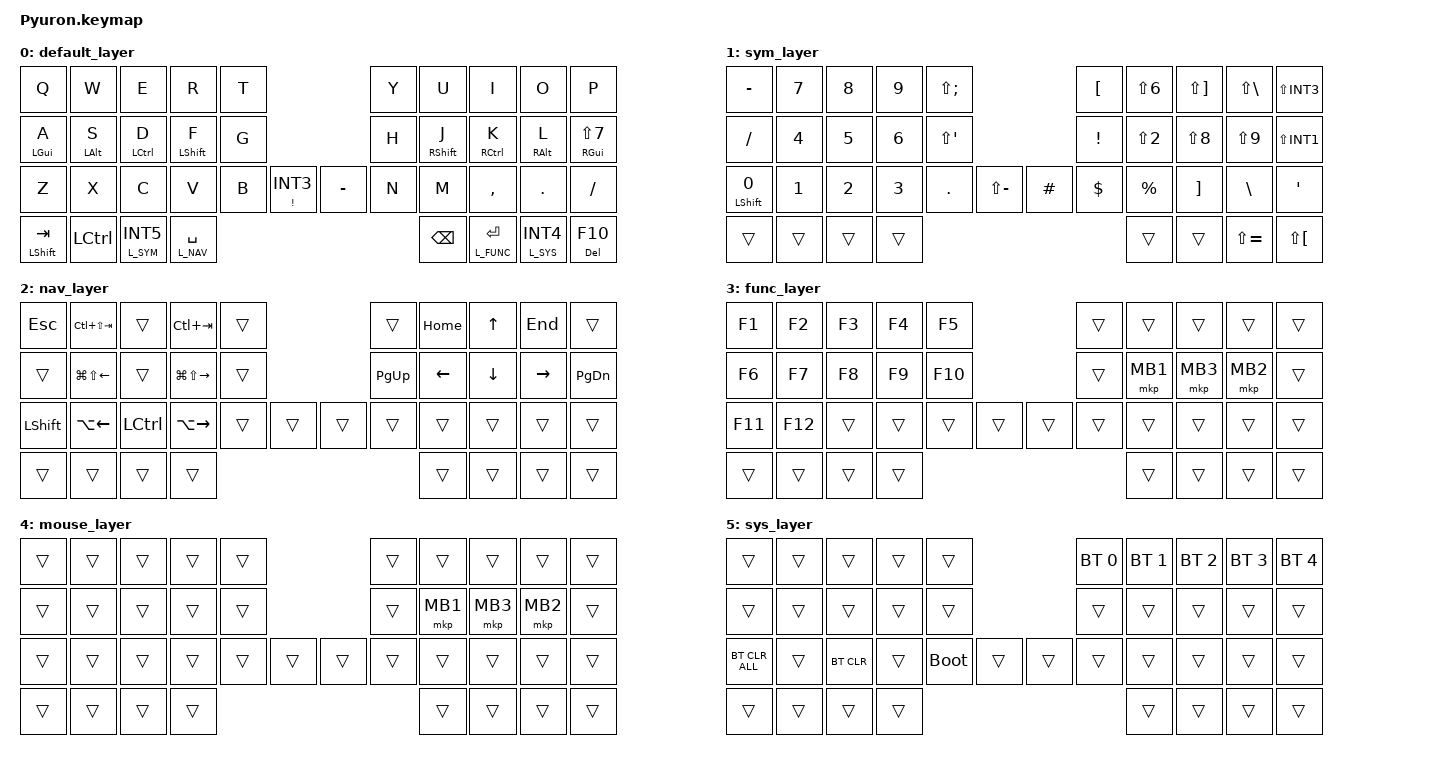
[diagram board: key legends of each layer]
#include <behaviors.dtsi>
#include <dt-bindings/zmk/bt.h>
#include <dt-bindings/zmk/keys.h>
#include <dt-bindings/zmk/pointing.h>

/* ===== Layer indices =====
 * L_MOUSE must match <&zip_mouse_temp_layer N ...> in Pyuron_R.overlay.
 * Names are prefixed so they cannot collide with anything the
 * included headers already define.
 */
#define L_BASE   0
#define L_SYM    1   // symbols / numbers    - Eisu hold  (pos 34)
#define L_NAV    2   // cursor / window      - Space hold (pos 35)
#define L_FUNC   3   // F-keys / mouse click - Enter hold (pos 37)
#define L_MOUSE  4   // click only           - trackball auto ON
#define L_SYS    5   // bluetooth / boot     - Kana hold  (pos 38)

/* ===== JIS (Japanese 106/109) symbol aliases =====
 * Precondition: OS keyboard layout = JIS on ALL hosts.
 * ZMK sends US-position HID codes; these map them to JIS output.
 * Unchanged in JIS (kept as US names): ! # $ % , . / and digits/keypad.
 */
#define JP_CIRC  EQUAL        // ^
#define JP_AT    LBKT         // @
#define JP_LBKT  RBKT         // [
#define JP_RBKT  BSLH         // ]
#define JP_COLON SQT          // :
#define JP_BSLH  INT1         // \  (ろ key)
#define JP_YEN   INT3         // ¥  (= backslash 0x5C on Windows JIS)
#define JP_PLUS  LS(SEMI)     // +
#define JP_ASTR  LS(SQT)      // *
#define JP_EQL   LS(MINUS)    // =
#define JP_TILDE LS(EQUAL)    // ~
#define JP_GRAVE LS(LBKT)     // `
#define JP_LBRC  LS(RBKT)     // {
#define JP_RBRC  LS(BSLH)     // }
#define JP_PIPE  LS(INT3)     // |
#define JP_UNDER LS(INT1)     // _
#define JP_DQT   LS(N2)       // "
#define JP_AMPS  LS(N6)       // &
#define JP_QUOT  LS(N7)       // '
#define JP_LPAR  LS(N8)       // (
#define JP_RPAR  LS(N9)       // )


/* ----- positional hold-tap (HRM) key-position sets -----
 * Left alphas : 0-4 / 10-14 / 20-25
 * Right alphas: 5-9 / 15-19 / 26-31
 * Thumb/bottom: 32-39 (allowed for both sides)
 */
#define KEYS_R 5 6 7 8 9 15 16 17 18 19 26 27 28 29 30 31
#define KEYS_L 0 1 2 3 4 10 11 12 13 14 20 21 22 23 24 25
#define THUMBS 32 33 34 35 36 37 38 39

&mt {
    flavor = "balanced";
    quick-tap-ms = <0>;
};

/* ZMK Keymap Overlay: begin (generated) */
/*
 * Signal keys for the ZMK Keymap Overlay PC app.
 * Entering a layer also holds an F13-F24 key, so the PC can show that layer.
 * Regenerate this block from the app instead of editing it by hand.
 * The &zo_lt_* keys keep the timing of ZMK's built-in &lt
 * (and of any &lt { ... } override in this keymap).
 */
/ {
    macros {
        zo_mo_l1: zo_mo_l1 {
            compatible = "zmk,behavior-macro-one-param";
            display-name = "Momentary Layer + F13";
            #binding-cells = <1>;
            wait-ms = <0>;
            tap-ms = <0>;
            bindings
                = <&macro_press &macro_param_1to1 &mo MACRO_PLACEHOLDER>
                , <&macro_press &kp F13>
                , <&macro_pause_for_release>
                , <&macro_release &kp F13>
                , <&macro_release &macro_param_1to1 &mo MACRO_PLACEHOLDER>;
        };
        zo_mo_l2: zo_mo_l2 {
            compatible = "zmk,behavior-macro-one-param";
            display-name = "Momentary Layer + F14";
            #binding-cells = <1>;
            wait-ms = <0>;
            tap-ms = <0>;
            bindings
                = <&macro_press &macro_param_1to1 &mo MACRO_PLACEHOLDER>
                , <&macro_press &kp F14>
                , <&macro_pause_for_release>
                , <&macro_release &kp F14>
                , <&macro_release &macro_param_1to1 &mo MACRO_PLACEHOLDER>;
        };
        zo_mo_l3: zo_mo_l3 {
            compatible = "zmk,behavior-macro-one-param";
            display-name = "Momentary Layer + F15";
            #binding-cells = <1>;
            wait-ms = <0>;
            tap-ms = <0>;
            bindings
                = <&macro_press &macro_param_1to1 &mo MACRO_PLACEHOLDER>
                , <&macro_press &kp F15>
                , <&macro_pause_for_release>
                , <&macro_release &kp F15>
                , <&macro_release &macro_param_1to1 &mo MACRO_PLACEHOLDER>;
        };
        zo_mo_l5: zo_mo_l5 {
            compatible = "zmk,behavior-macro-one-param";
            display-name = "Momentary Layer + F16";
            #binding-cells = <1>;
            wait-ms = <0>;
            tap-ms = <0>;
            bindings
                = <&macro_press &macro_param_1to1 &mo MACRO_PLACEHOLDER>
                , <&macro_press &kp F16>
                , <&macro_pause_for_release>
                , <&macro_release &kp F16>
                , <&macro_release &macro_param_1to1 &mo MACRO_PLACEHOLDER>;
        };
    };

    behaviors {
        zo_lt_l1: zo_lt_l1 {
            compatible = "zmk,behavior-hold-tap";
            display-name = "Layer-Tap + F13";
            #binding-cells = <2>;
            flavor = "tap-preferred";
            tapping-term-ms = <200>;
            bindings = <&zo_mo_l1>, <&kp>;
        };
        zo_lt_l2: zo_lt_l2 {
            compatible = "zmk,behavior-hold-tap";
            display-name = "Layer-Tap + F14";
            #binding-cells = <2>;
            flavor = "tap-preferred";
            tapping-term-ms = <200>;
            bindings = <&zo_mo_l2>, <&kp>;
        };
        zo_lt_l3: zo_lt_l3 {
            compatible = "zmk,behavior-hold-tap";
            display-name = "Layer-Tap + F15";
            #binding-cells = <2>;
            flavor = "tap-preferred";
            tapping-term-ms = <200>;
            bindings = <&zo_mo_l3>, <&kp>;
        };
        zo_lt_l5: zo_lt_l5 {
            compatible = "zmk,behavior-hold-tap";
            display-name = "Layer-Tap + F16";
            #binding-cells = <2>;
            flavor = "tap-preferred";
            tapping-term-ms = <200>;
            bindings = <&zo_mo_l5>, <&kp>;
        };
    };
};
/* ZMK Keymap Overlay: end */

/ {
    combos {
        compatible = "zmk,combos";

        combo_caps_word {
            bindings = <&caps_word>;
            key-positions = <13 16>;     // F + J
            timeout-ms = <50>;
            require-prior-idle-ms = <150>;
        };

        combo_esc {
            bindings = <&kp ESC>;
            key-positions = <21 22>;     // X + C
            layers = <0>;
            timeout-ms = <30>;
            require-prior-idle-ms = <50>;
        };

        combo_lbracket_ja {
            bindings = <&kp JP_LBKT>;    // kana: 「 / eisu: [
            key-positions = <28 29>;     // M + ,
            layers = <0>;
            timeout-ms = <40>;
            require-prior-idle-ms = <30>;
        };

        combo_rbracket_ja {
            bindings = <&kp JP_RBKT>;    // kana: 」 / eisu: ]
            key-positions = <30 31>;     // . + /
            layers = <0>;
            timeout-ms = <40>;
            require-prior-idle-ms = <30>;
        };
    };
};

/ {
    behaviors {
        // Home-row mods : left hand. Hold resolves only when an
        // opposite-hand (or thumb) key is pressed -> no same-hand misfires.
        // Consequence: left-hand-only Ctrl+S etc. is NOT possible here;
        // that is covered by the thumb mods at positions 32 (Shift) and 33 (Ctrl).
        hml: home_row_mod_left {
            compatible = "zmk,behavior-hold-tap";
            label = "HOME_ROW_MOD_LEFT";
            #binding-cells = <2>;
            bindings = <&kp>, <&kp>;
            flavor = "balanced";
            tapping-term-ms = <280>;
            quick-tap-ms = <175>;
            require-prior-idle-ms = <150>;
            hold-trigger-key-positions = <KEYS_R THUMBS>;
            hold-trigger-on-release;
        };

        // Home-row mods : right hand.
        hmr: home_row_mod_right {
            compatible = "zmk,behavior-hold-tap";
            label = "HOME_ROW_MOD_RIGHT";
            #binding-cells = <2>;
            bindings = <&kp>, <&kp>;
            flavor = "balanced";
            tapping-term-ms = <280>;
            quick-tap-ms = <175>;
            require-prior-idle-ms = <150>;
            hold-trigger-key-positions = <KEYS_L THUMBS>;
            hold-trigger-on-release;
        };

        // Tap-preferred hold-tap for thumb/corner dual keys.
        // Tap fires reliably even when typing right after; hold needs ~200ms.
        // NOTE: parameter order is <hold> <tap>.
        //   &htp DEL F10             -> tap = F10, hold = Delete
        //   &htp LSHFT TAB           -> tap = Tab, hold = Shift
        //   &htp EXCLAMATION JP_YEN  -> tap = ¥,   hold = !
        htp: hold_tap_preferred {
            compatible = "zmk,behavior-hold-tap";
            label = "HOLD_TAP_PREFERRED";
            #binding-cells = <2>;
            bindings = <&kp>, <&kp>;
            flavor = "tap-preferred";
            tapping-term-ms = <200>;
        };
    };

    /* ==========================================================
     * Physical layout is 10 / 10 / 12 / 8  (40 keys).
     * Every layer below is line-broken to match that, so a row in
     * this file is a row on the board.
     *
     *   pos  0- 4 : left  top      pos  5- 9 : right top
     *   pos 10-14 : left  home     pos 15-19 : right home
     *   pos 20-25 : left  bottom   pos 26-31 : right bottom
     *   pos 32-35 : left  thumb    pos 36-39 : right thumb
     * ==========================================================
     */
    keymap {
        compatible = "zmk,keymap";

        /* L0 BASE
         *   Q     W     E     R     T    |    Y     U     I     O     P
         *  ⌘A    ⌥S    ⌃D    ⇧F     G    |    H    ⇧J    ⌃K    ⌥L    ⌘'
         *   Z     X     C     V     B  ¥/! |  -     N     M     ,     .     /
         * Tab/⇧   ⌃        Eisu₁ Spc₂ | Bsp Ent₃      Kana₅ F10/Del
         */
        default_layer {
            bindings = <
&kp Q           &kp W          &kp E          &kp R          &kp T                                        &kp Y            &kp U            &kp I          &kp O          &kp P
&hml LGUI A     &hml LALT S    &hml LCTRL D   &hml LSHFT F   &kp G                                        &kp H            &hmr RSHFT J     &hmr RCTRL K   &hmr RALT L    &hmr RGUI JP_QUOT
&kp Z           &kp X          &kp C          &kp V          &kp B     &htp EXCLAMATION JP_YEN    &kp MINUS   &kp N         &kp M            &kp COMMA      &kp DOT        &kp SLASH
&htp LSHFT TAB  &kp LCTRL      &zo_lt_l1 L_SYM INT5  &zo_lt_l2 L_NAV SPACE                                    &kp BACKSPACE   &zo_lt_l3 L_FUNC ENTER   &zo_lt_l5 L_SYS INT4   &htp DEL F10
            >;
        };

        /* L1 SYM/NUM  (Eisu hold, pos 34)
         *  -  7  8  9  +   |   @  &  {  }  |
         *  /  4  5  6  *   |   !  "  (  )  _
         * ⇧0  1  2  3  .  =|  #  $  %  [  ]  :
         *  x  x     ▽  x   |  ·  ·        ~  `
         * pos 32/33/35 are unreachable (same thumb holds 34) -> kept transparent.
         */
        sym_layer {
            bindings = <
&kp MINUS            &kp N7   &kp N8   &kp N9   &kp JP_PLUS                          &kp JP_AT         &kp JP_AMPS   &kp JP_LBRC   &kp JP_RBRC    &kp JP_PIPE
&kp SLASH            &kp N4   &kp N5   &kp N6   &kp JP_ASTR                          &kp EXCLAMATION   &kp JP_DQT    &kp JP_LPAR   &kp JP_RPAR    &kp JP_UNDER
&mt LEFT_SHIFT N0    &kp N1   &kp N2   &kp N3   &kp PERIOD   &kp JP_EQL   &kp HASH   &kp DOLLAR        &kp PERCENT   &kp JP_LBKT   &kp JP_RBKT    &kp JP_COLON
&trans                  &trans      &trans      &trans                                 &trans     &trans        &kp JP_TILDE  &kp JP_GRAVE
            >;
        };

        /* L2 NAV  (Space hold, pos 35)
         * Esc C⇧⇥  ·  C⇥   ·   |    ·  Hom  ↑  End  ·
         *  ·  ⌘⇧←  ·  ⌘⇧→  ·   |   PgU  ←   ↓   →  PgD
         *  ⇧  ⌥←   ⌃  ⌥→   ·  ·|  ·  ·   ·   ·   ·   ·
         *  x  x        x   ▽   |  ·  ·        ·   ·
         * pos 20/22 carry Shift/Ctrl because the left thumb is busy holding 35.
         */
        nav_layer {
            bindings = <
&kp ESCAPE    &kp LC(LS(TAB))         &trans       &kp LC(TAB)              &trans                    &trans     &kp HOME        &kp UP_ARROW    &kp END          &trans
&trans        &kp LG(LS(LEFT_ARROW))  &trans       &kp LG(LS(RIGHT_ARROW))  &trans                    &kp PG_UP  &kp LEFT_ARROW  &kp DOWN_ARROW  &kp RIGHT_ARROW  &kp PG_DN
&kp LSHFT     &kp LA(LEFT_ARROW)      &kp LCTRL    &kp LA(RIGHT_ARROW)      &trans   &trans     &trans   &trans   &trans          &trans          &trans           &trans
&trans        &trans                  &trans       &trans                                      &trans   &trans   &trans          &trans
            >;
        };

        /* L3 FUNC/CLICK  (Enter hold, pos 37)
         * F1  F2  F3  F4  F5  |   ·   ·    ·    ·   ·
         * F6  F7  F8  F9  F10 |   ·  MB1  MB3  MB2  ·
         * F11 F12  ·  ·  ·  · | ·  ·  ·    ·    ·   ·
         *  ·   ·       ·   ·  | ·  ▽       ·    ·
         * Manual click path. Buttons sit at 16/17/18 -- identical to L4 -- so the
         * automatic and manual paths never disagree about where the buttons are.
         * Left thumb stays free here, so pos 32 (⇧) / 33 (⌃) give Shift+click etc.
         */
        func_layer {
            bindings = <
&kp F1     &kp F2    &kp F3   &kp F4   &kp F5                            &trans   &trans        &trans        &trans        &trans
&kp F6     &kp F7    &kp F8   &kp F9   &kp F10                           &trans   &mkp MB1      &mkp MB3      &mkp MB2      &trans
&kp F11    &kp F12   &trans   &trans   &trans   &trans          &trans   &trans   &trans        &trans        &trans        &trans
&trans     &trans    &trans   &trans                            &trans   &trans   &trans        &trans
            >;
        };

        /* L4 MOUSE  (trackball auto ON only -- no manual entry)
         * KEEP EVERYTHING EXCEPT 16/17/18 TRANSPARENT.
         * A non-excluded key press deactivates this layer, but whether that
         * happens before or after the key resolves is implementation-defined in
         * zmk,input-processor-temp-layer. Transparency makes both orders
         * indistinguishable. Putting real bindings here would expose the race.
         */
        mouse_layer {
            bindings = <
&trans   &trans   &trans   &trans   &trans                     &trans   &trans     &trans     &trans     &trans
&trans   &trans   &trans   &trans   &trans                     &trans   &mkp MB1   &mkp MB3   &mkp MB2   &trans
&trans   &trans   &trans   &trans   &trans   &trans    &trans  &trans   &trans     &trans     &trans     &trans
&trans   &trans   &trans   &trans                      &trans  &trans   &trans     &trans
            >;
        };

        /* L5 SYS/BT  (Kana hold, pos 38)
         *   ·     ·   ·    ·   ·     |  BT0 BT1 BT2 BT3 BT4
         *   ·     ·   ·    ·   ·     |   ·   ·   ·   ·   ·
         * CLRa    ·  CLR   ·  BOOT · | ·  ·   ·   ·   ·   ·
         *   ·     ·           ·   ·  | ·  ·       ▽   x
         *
         * No NumLock key here on purpose: L_SYM uses plain digit codes, so
         * nothing on this board depends on NumLock, and NumLock is global host
         * state -- toggling it would break an external numpad instead.
         * Entry key (Kana) is hard to reach on purpose: this layer must not be
         * entered by accident. The destructive keys are on the LEFT hand so that
         * reaching them needs a deliberate two-handed action, ordered by danger:
         *   pos 20 (far pinky) = BT_CLR_ALL   most destructive -> hardest to hit
         *   pos 22 (middle)    = BT_CLR
         *   pos 24 (index)     = bootloader   wanted on purpose when flashing
         * pos 21/23/25 left empty so a slip does not land on another danger key.
         * pos 39 is unreachable (same thumb holds 38).
         */
        sys_layer {
            bindings = <
&trans            &trans   &trans        &trans   &trans                              &bt BT_SEL 0   &bt BT_SEL 1   &bt BT_SEL 2   &bt BT_SEL 3   &bt BT_SEL 4
&trans            &trans   &trans        &trans   &trans                              &trans         &trans         &trans         &trans         &trans
&bt BT_CLR_ALL    &trans   &bt BT_CLR    &trans   &bootloader   &trans      &trans    &trans         &trans         &trans         &trans         &trans
&trans            &trans   &trans        &trans                             &trans    &trans         &trans         &trans
            >;
        };
    };
};
